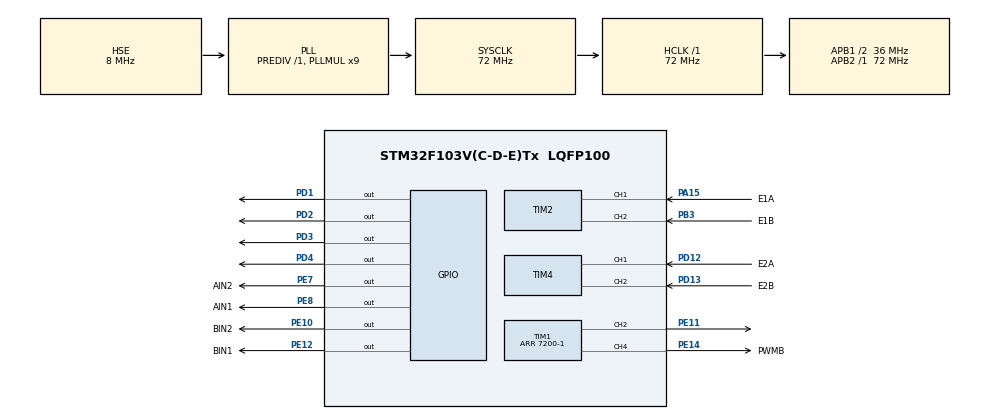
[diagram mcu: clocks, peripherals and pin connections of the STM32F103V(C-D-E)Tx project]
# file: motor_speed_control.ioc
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Mcu.Family=STM32F1
Mcu.Name=STM32F103V(C-D-E)Tx
Mcu.Package=LQFP100
NVIC.PriorityGroup=NVIC_PRIORITYGROUP_4
NVIC.TIM5_IRQn=true\:0\:0\:false\:false\:true\:true\:true\:true
OSC_IN.Mode=HSE-External-Oscillator
OSC_IN.Signal=RCC_OSC_IN
OSC_OUT.Mode=HSE-External-Oscillator
OSC_OUT.Signal=RCC_OSC_OUT
PA13.Mode=Serial_Wire
PA13.Signal=SYS_JTMS-SWDIO
PA14.Mode=Serial_Wire
PA14.Signal=SYS_JTCK-SWCLK
PA15.GPIO_Label=E1A
PA15.Signal=S_TIM2_CH1_ETR
PB3.GPIO_Label=E1B
PB3.Signal=S_TIM2_CH2
PC14-OSC32_IN.Mode=LSE-External-Oscillator
PC14-OSC32_IN.Signal=RCC_OSC32_IN
PC15-OSC32_OUT.Mode=LSE-External-Oscillator
PC15-OSC32_OUT.Signal=RCC_OSC32_OUT
PD1.Signal=GPIO_Output
PD12.GPIO_Label=E2A
PD12.Signal=S_TIM4_CH1
PD13.GPIO_Label=E2B
PD13.Signal=S_TIM4_CH2
PD2.Signal=GPIO_Output
PD3.Signal=GPIO_Output
PD4.Signal=GPIO_Output
PE10.GPIO_Label=BIN2
PE10.Signal=GPIO_Output
PE11.Signal=S_TIM1_CH2
PE12.GPIO_Label=BIN1
PE12.Signal=GPIO_Output
PE14.GPIO_Label=PWMB
PE14.Signal=S_TIM1_CH4
PE7.GPIO_Label=AIN2
PE7.Signal=GPIO_Output
PE8.GPIO_Label=AIN1
PE8.Signal=GPIO_Output
ProjectManager.HeapSize=0x200
ProjectManager.StackSize=0x400
ProjectManager.TargetToolchain=STM32CubeIDE
RCC.AHBFreq_Value=72000000
RCC.APB1CLKDivider=RCC_HCLK_DIV2
RCC.APB1Freq_Value=36000000
RCC.APB1TimFreq_Value=72000000
RCC.APB2Freq_Value=72000000
RCC.APB2TimFreq_Value=72000000
RCC.HCLKFreq_Value=72000000
RCC.PLLMUL=RCC_PLL_MUL9
RCC.PLLSourceVirtual=RCC_PLLSOURCE_HSE
RCC.SYSCLKFreq_VALUE=72000000
RCC.SYSCLKSource=RCC_SYSCLKSOURCE_PLLCLK
RCC.USBFreq_Value=72000000
SH.S_TIM1_CH2.0=TIM1_CH2,PWM Generation2 CH2
SH.S_TIM1_CH4.0=TIM1_CH4,PWM Generation4 CH4
SH.S_TIM2_CH1_ETR.0=TIM2_CH1,Encoder_Interface
SH.S_TIM2_CH2.0=TIM2_CH2,Encoder_Interface
SH.S_TIM4_CH1.0=TIM4_CH1,Encoder_Interface
SH.S_TIM4_CH2.0=TIM4_CH2,Encoder_Interface
TIM1.Channel-PWM\ Generation2\ CH2=TIM_CHANNEL_2
TIM1.Channel-PWM\ Generation4\ CH4=TIM_CHANNEL_4
TIM1.ClockDivision=TIM_CLOCKDIVISION_DIV1
TIM1.Period=7200-1
TIM2.EncoderMode=TIM_ENCODERMODE_TI12
TIM4.EncoderMode=TIM_ENCODERMODE_TI12
TIM5.Period=100-1
TIM5.Prescaler=1440-1
VP_TIM1_VS_ClockSourceINT.Mode=Internal
VP_TIM5_VS_ClockSourceINT.Mode=Internal
board=custom

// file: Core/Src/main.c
/* USER CODE BEGIN Header */
/**
  ******************************************************************************
  * @file           : main.c
  * @brief          : Main program body
  ******************************************************************************
  * @attention
  *
  * Copyright (c) 2025 STMicroelectronics.
  * All rights reserved.
  *
  * This software is licensed under terms that can be found in the LICENSE file
  * in the root directory of this software component.
  * If no LICENSE file comes with this software, it is provided AS-IS.
  *
  ******************************************************************************
  */
/* USER CODE END Header */
#include "main.h"
#include "tim.h"
#include "gpio.h"

/* USER CODE BEGIN Includes */
#include "delay.h"
#include "oled.h"
#include "sys.h"
#include <string.h>
#include <stdio.h>
#include "motor.h"
#include "interrupt.h"
#include "speed_planning.h"
/* USER CODE END Includes */

/* USER CODE BEGIN PTD */
char OledString[50];
/* USER CODE END PTD */

void SystemClock_Config(void);

int main(void)
{

  /* MCU Configuration--------------------------------------------------------*/

  /* Reset of all peripherals, Initializes the Flash interface and the Systick. */
  HAL_Init();

  /* Configure the system clock */
  SystemClock_Config();

  /* Initialize all configured peripherals */
  MX_GPIO_Init();
  MX_TIM1_Init();
  MX_TIM4_Init();
  MX_TIM2_Init();
  MX_TIM5_Init();
  /* USER CODE BEGIN 2 */
  OLED_Init();
  delay_init();
  Kalman_Filter_Init();
  S_Curve_Init(&Left_Wheel_Planner, 0.0f, 0.0f, 30.0f);
  S_Curve_Init(&Right_Wheel_Planner, 0.0f, 0.0f, 30.0f);
  HAL_TIM_Base_Start_IT(&htim5);
  HAL_TIM_Encoder_Start(&htim2,TIM_CHANNEL_ALL);
  HAL_TIM_Encoder_Start(&htim4,TIM_CHANNEL_ALL);
  HAL_TIM_PWM_Start(&htim1,TIM_CHANNEL_2);
  HAL_TIM_PWM_Start(&htim1,TIM_CHANNEL_4);
  /* USER CODE END 2 */

  /* Infinite loop */
  /* USER CODE BEGIN WHILE */
  while (1)
  {
    static uint8_t target_state = 0; // 目标状态：0表示目标为0.00，1表示目标为0.05

    // 检查两个电机是否都达到了目标速度
    if(Left_Wheel_Planner.target_reached && Right_Wheel_Planner.target_reached)
    {
      // 切换目标速度
      if(target_state == 0)
      {
        Set_Target_Speed_Smooth(0.10f, 0.10f);
        target_state = 1;
      }
      else
      {
        Set_Target_Speed_Smooth(0.00f, 0.00f);
        target_state = 0;
      }
    }

    // 显示速度信息
    char OledString[20];
    sprintf((char*)OledString, "Va:%.2fm/s", speed_a, target_a);
    OLED_ShowString(0, 0, (unsigned char*)OledString);

    sprintf((char*)OledString, "Vb:%.2fm/s", speed_b, target_b);
    OLED_ShowString(0, 2, (unsigned char*)OledString);

    HAL_Delay(10);
    /* USER CODE END WHILE */

  }
}

void SystemClock_Config(void)
{
  RCC_OscInitTypeDef RCC_OscInitStruct = {0};
  RCC_ClkInitTypeDef RCC_ClkInitStruct = {0};

  /** Initializes the RCC Oscillators according to the specified parameters
  * in the RCC_OscInitTypeDef structure.
  */
  RCC_OscInitStruct.OscillatorType = RCC_OSCILLATORTYPE_HSE;
  RCC_OscInitStruct.HSEState = RCC_HSE_ON;
  RCC_OscInitStruct.HSEPredivValue = RCC_HSE_PREDIV_DIV1;
  RCC_OscInitStruct.HSIState = RCC_HSI_ON;
  RCC_OscInitStruct.PLL.PLLState = RCC_PLL_ON;
  RCC_OscInitStruct.PLL.PLLSource = RCC_PLLSOURCE_HSE;
  RCC_OscInitStruct.PLL.PLLMUL = RCC_PLL_MUL9;
  if (HAL_RCC_OscConfig(&RCC_OscInitStruct) != HAL_OK)
  {
    Error_Handler();
  }

  /** Initializes the CPU, AHB and APB buses clocks
  */
  RCC_ClkInitStruct.ClockType = RCC_CLOCKTYPE_HCLK|RCC_CLOCKTYPE_SYSCLK
                              |RCC_CLOCKTYPE_PCLK1|RCC_CLOCKTYPE_PCLK2;
  RCC_ClkInitStruct.SYSCLKSource = RCC_SYSCLKSOURCE_PLLCLK;
  RCC_ClkInitStruct.AHBCLKDivider = RCC_SYSCLK_DIV1;
  RCC_ClkInitStruct.APB1CLKDivider = RCC_HCLK_DIV2;
  RCC_ClkInitStruct.APB2CLKDivider = RCC_HCLK_DIV1;

  if (HAL_RCC_ClockConfig(&RCC_ClkInitStruct, FLASH_LATENCY_2) != HAL_OK)
  {
    Error_Handler();
  }
}

void Error_Handler(void)
{
  __disable_irq();
  while (1)
  {
  }
}
